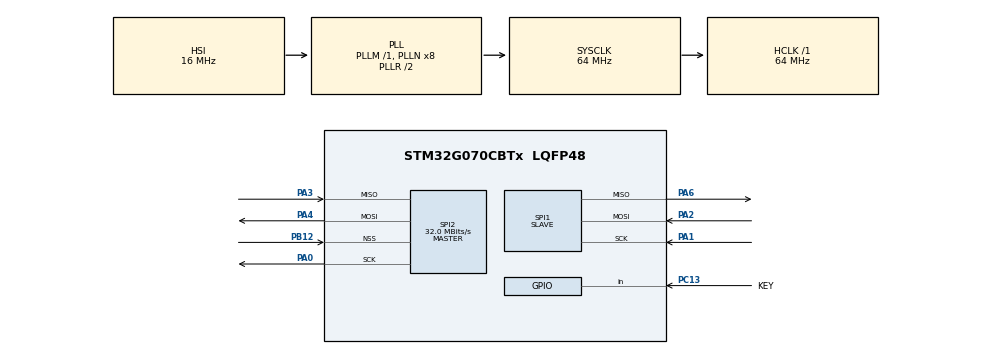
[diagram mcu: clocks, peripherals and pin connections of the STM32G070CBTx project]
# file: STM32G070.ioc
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Dma.Request0=SPI1_RX
Dma.Request1=SPI1_TX
Dma.SPI1_RX.0.Direction=DMA_PERIPH_TO_MEMORY
Dma.SPI1_RX.0.EventEnable=DISABLE
Dma.SPI1_RX.0.Instance=DMA1_Channel1
Dma.SPI1_RX.0.MemDataAlignment=DMA_MDATAALIGN_HALFWORD
Dma.SPI1_RX.0.MemInc=DMA_MINC_ENABLE
Dma.SPI1_RX.0.Mode=DMA_NORMAL
Dma.SPI1_RX.0.PeriphDataAlignment=DMA_PDATAALIGN_HALFWORD
Dma.SPI1_RX.0.PeriphInc=DMA_PINC_DISABLE
Dma.SPI1_RX.0.Polarity=HAL_DMAMUX_REQ_GEN_RISING
Dma.SPI1_RX.0.Priority=DMA_PRIORITY_MEDIUM
Dma.SPI1_RX.0.RequestNumber=1
Dma.SPI1_RX.0.SignalID=NONE
Dma.SPI1_RX.0.SyncEnable=DISABLE
Dma.SPI1_RX.0.SyncPolarity=HAL_DMAMUX_SYNC_NO_EVENT
Dma.SPI1_RX.0.SyncRequestNumber=1
Dma.SPI1_RX.0.SyncSignalID=NONE
Dma.SPI1_TX.1.Direction=DMA_MEMORY_TO_PERIPH
Dma.SPI1_TX.1.EventEnable=DISABLE
Dma.SPI1_TX.1.Instance=DMA1_Channel3
Dma.SPI1_TX.1.MemDataAlignment=DMA_MDATAALIGN_HALFWORD
Dma.SPI1_TX.1.MemInc=DMA_MINC_ENABLE
Dma.SPI1_TX.1.Mode=DMA_NORMAL
Dma.SPI1_TX.1.PeriphDataAlignment=DMA_PDATAALIGN_HALFWORD
Dma.SPI1_TX.1.PeriphInc=DMA_PINC_DISABLE
Dma.SPI1_TX.1.Polarity=HAL_DMAMUX_REQ_GEN_RISING
Dma.SPI1_TX.1.Priority=DMA_PRIORITY_MEDIUM
Dma.SPI1_TX.1.RequestNumber=1
Dma.SPI1_TX.1.SignalID=NONE
Dma.SPI1_TX.1.SyncEnable=DISABLE
Dma.SPI1_TX.1.SyncPolarity=HAL_DMAMUX_SYNC_NO_EVENT
Dma.SPI1_TX.1.SyncRequestNumber=1
Dma.SPI1_TX.1.SyncSignalID=NONE
Mcu.Family=STM32G0
Mcu.Name=STM32G070CBTx
Mcu.Package=LQFP48
NVIC.DMA1_Channel1_IRQn=true\:0\:0\:false\:false\:true\:false\:true\:true
NVIC.DMA1_Channel2_3_IRQn=true\:0\:0\:false\:false\:true\:false\:true\:true
NVIC.SPI1_IRQn=true\:0\:0\:false\:false\:true\:true\:true\:true
NVIC.SPI2_IRQn=true\:0\:0\:false\:false\:true\:true\:true\:true
PA0.GPIO_Speed=GPIO_SPEED_FREQ_VERY_HIGH
PA0.Mode=Full_Duplex_Master
PA0.Signal=SPI2_SCK
PA1.GPIO_Speed=GPIO_SPEED_FREQ_VERY_HIGH
PA1.Mode=Full_Duplex_Slave
PA1.Signal=SPI1_SCK
PA13.Mode=Serial_Wire
PA13.Signal=SYS_SWDIO
PA14-BOOT0.Mode=Serial_Wire
PA14-BOOT0.Signal=SYS_SWCLK
PA2.GPIO_Speed=GPIO_SPEED_FREQ_VERY_HIGH
PA2.Mode=Full_Duplex_Slave
PA2.Signal=SPI1_MOSI
PA3.GPIO_PuPd=GPIO_PULLUP
PA3.GPIO_Speed=GPIO_SPEED_FREQ_VERY_HIGH
PA3.Mode=Full_Duplex_Master
PA3.Signal=SPI2_MISO
PA4.GPIO_Speed=GPIO_SPEED_FREQ_VERY_HIGH
PA4.Mode=Full_Duplex_Master
PA4.Signal=SPI2_MOSI
PA6.GPIO_PuPd=GPIO_PULLUP
PA6.GPIO_Speed=GPIO_SPEED_FREQ_VERY_HIGH
PA6.Mode=Full_Duplex_Slave
PA6.Signal=SPI1_MISO
PB12.GPIO_Speed=GPIO_SPEED_FREQ_VERY_HIGH
PB12.Mode=NSS_Signal_Hard_Input
PB12.Signal=SPI2_NSS
PC13.GPIO_Label=KEY
PC13.GPIO_PuPd=GPIO_PULLUP
PC13.Signal=GPIO_Input
PF0-OSC_IN\ (PF0).Mode=HSE-External-Oscillator
PF0-OSC_IN\ (PF0).Signal=RCC_OSC_IN
PF1-OSC_OUT\ (PF1).Mode=HSE-External-Oscillator
PF1-OSC_OUT\ (PF1).Signal=RCC_OSC_OUT
ProjectManager.HeapSize=0x200
ProjectManager.StackSize=0x400
ProjectManager.TargetToolchain=EWARM V8.50
RCC.ADCFreq_Value=64000000
RCC.AHBFreq_Value=64000000
RCC.CortexFreq_Value=64000000
RCC.EXTERNAL_CLOCK_VALUE=48000
RCC.HCLKFreq_Value=64000000
RCC.HSE_VALUE=16000000
RCC.HSI_VALUE=16000000
RCC.LSE_VALUE=32768
RCC.SYSCLKFreq_VALUE=64000000
RCC.SYSCLKSource=RCC_SYSCLKSOURCE_PLLCLK
RCC.VCOOutputFreq_Value=128000000
SPI1.DataSize=SPI_DATASIZE_16BIT
SPI1.Direction=SPI_DIRECTION_2LINES
SPI1.Mode=SPI_MODE_SLAVE
SPI1.VirtualType=VM_SLAVE
SPI2.CalculateBaudRate=32.0 MBits/s
SPI2.DataSize=SPI_DATASIZE_16BIT
SPI2.Direction=SPI_DIRECTION_2LINES
SPI2.Mode=SPI_MODE_MASTER
SPI2.NSSPMode=SPI_NSS_PULSE_DISABLE
SPI2.VirtualNSS=VM_NSSHARD
SPI2.VirtualType=VM_MASTER
board=custom

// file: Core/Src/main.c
/* USER CODE BEGIN Header */
/**
  ******************************************************************************
  * @file           : main.c
  * @brief          : Main program body
  ******************************************************************************
  * @attention
  *
  * Copyright (c) 2022 STMicroelectronics.
  * All rights reserved.
  *
  * This software is licensed under terms that can be found in the LICENSE file
  * in the root directory of this software component.
  * If no LICENSE file comes with this software, it is provided AS-IS.
  *
  ******************************************************************************
  */
/* USER CODE END Header */
#include "main.h"

/* USER CODE BEGIN PD */
#define SPI1LEN         8	        /* длина буфера для spi1 */
#define SPI2LEN         SPI1LEN 	/* длина буфера для spi2 */
/* USER CODE END PD */

SPI_HandleTypeDef hspi2;

/* USER CODE BEGIN PV */
uint16_t        spi1buf[SPI1LEN];       // slave mode
uint16_t        spi2buf[SPI2LEN];       // master mode
uint16_t        spi2index = 0;		// индекс массива

__IO uint8_t ubTransmissionComplete = 0;
__IO uint8_t ubReceptionComplete = 0;
/* USER CODE END PV */

void SystemClock_Config(void);
static void MX_GPIO_Init(void);
static void MX_DMA_Init(void);
static void MX_SPI1_Init(void);
static void MX_SPI2_Init(void);

/* USER CODE BEGIN 0 */
/*void HAL_UART_RxCpltCallback(UART_HandleTypeDef *huart)
{
        //if(huart->Instance == USART1) // для быстродействия закоментируем проверку
	{
                // не интересный вариант с промежуточным буфером
                //spi2buf[spi2index++] = (uart1buf[0] << 8) | uart1buf[1]; // переписываем полученные данные в выходной массив
                //HAL_UART_Receive_IT(&huart1, (uint8_t *)&uart1buf, 2); // получаем 2 восьмибитных слова по прерыванию UART

                // интересный вариант приема данных сразу в целевой массив
                HAL_UART_Receive_IT(&huart1, (uint8_t *)&spi2buf[spi2index++], 2); // получаем 2 восьмибитных слова по прерыванию UART
                if(spi2index >= SPI2LEN) // не допускаем выхода за пределы массива
                        spi2index = 0;
                if(spi2index == SPI2LEN / 2) // при заполнении буффера на половину отдаем данные по DMA
                        HAL_SPI_Transmit_DMA(&hspi2, (uint8_t *)&spi2buf[0], SPI2LEN / 2); // slave transmit use NSS signal +
                if(spi2index == SPI2LEN) // при заполнении буффера полностью отдаем данные по DMA начиная с середины и до конца массива
                        HAL_SPI_Transmit_DMA(&hspi2, (uint8_t *)&spi2buf[SPI2LEN / 2], SPI2LEN / 2); // slave transmit use NSS signal +
        }
}*/

/**
  * @brief  Function called from DMA1 IRQ Handler when Rx transfer is completed
  * @param  None
  * @retval None
  */
void DMA1_ReceiveComplete_Callback(void)
{
  /* DMA Rx transfer completed */
  ubReceptionComplete = 1;
}

/**
  * @brief  Function called from DMA1 IRQ Handler when Tx transfer is completed
  * @param  None
  * @retval None
  */
void DMA1_TransmitComplete_Callback(void)
{
  /* DMA Tx transfer completed */
  ubTransmissionComplete = 1;
}

/**
  * @brief  Function called in case of error detected in SPI IT Handler
  * @param  None
  * @retval None
  */
void SPI1_TransferError_Callback(void)
{
  /* Set LED2 to Blinking mode to indicate error occurs */
  //LED_Blinking(LED_BLINK_ERROR);
}
/* USER CODE END 0 */

int main(void)
{

  /* MCU Configuration--------------------------------------------------------*/

  /* Reset of all peripherals, Initializes the Flash interface and the Systick. */
  HAL_Init();

  /* Configure the system clock */
  SystemClock_Config();

          for(uint16_t i = 0; i < SPI2LEN; i++) // генерируем набор данных для удобства отслеживания изменений в режиме отладки
          {
                spi2buf[i] = SPI2LEN - i - 1 + 1024;
                spi1buf[i] = i + 1024;
          }

  /* Initialize all configured peripherals */
  MX_GPIO_Init();
  MX_DMA_Init();
  MX_SPI1_Init();
  MX_SPI2_Init();
  /* USER CODE BEGIN 2 */

  /* Configure the DMA1_Channel3 functional parameters */
  LL_DMA_ConfigTransfer(DMA1, LL_DMA_CHANNEL_3, LL_DMA_DIRECTION_MEMORY_TO_PERIPH | LL_DMA_PRIORITY_HIGH | LL_DMA_MODE_NORMAL | LL_DMA_PERIPH_NOINCREMENT | LL_DMA_MEMORY_INCREMENT | LL_DMA_PDATAALIGN_HALFWORD | LL_DMA_MDATAALIGN_HALFWORD);
  LL_DMA_ConfigAddresses(DMA1, LL_DMA_CHANNEL_3, (uint32_t)&spi1buf, LL_SPI_DMA_GetRegAddr(SPI1), LL_DMA_GetDataTransferDirection(DMA1, LL_DMA_CHANNEL_3));
  LL_DMA_SetDataLength(DMA1, LL_DMA_CHANNEL_3, SPI1LEN);
  LL_DMA_SetPeriphRequest(DMA1, LL_DMA_CHANNEL_3, LL_DMAMUX_REQ_SPI1_TX); // ch3 -> tx

  /* Configure the DMA1_Channel1 functional parameters */
  LL_DMA_ConfigTransfer(DMA1, LL_DMA_CHANNEL_1, LL_DMA_DIRECTION_PERIPH_TO_MEMORY | LL_DMA_PRIORITY_HIGH | LL_DMA_MODE_NORMAL | LL_DMA_PERIPH_NOINCREMENT | LL_DMA_MEMORY_INCREMENT | LL_DMA_PDATAALIGN_HALFWORD | LL_DMA_MDATAALIGN_HALFWORD);
  LL_DMA_ConfigAddresses(DMA1, LL_DMA_CHANNEL_1, LL_SPI_DMA_GetRegAddr(SPI1), (uint32_t)&spi1buf, LL_DMA_GetDataTransferDirection(DMA1, LL_DMA_CHANNEL_1));
  LL_DMA_SetDataLength(DMA1, LL_DMA_CHANNEL_1, SPI1LEN);
  LL_DMA_SetPeriphRequest(DMA1, LL_DMA_CHANNEL_1, LL_DMAMUX_REQ_SPI1_RX); // ch1 -> rx

  /* Enable DMA interrupts complete/error */
  LL_DMA_EnableIT_TC(DMA1, LL_DMA_CHANNEL_3);
  LL_DMA_EnableIT_TE(DMA1, LL_DMA_CHANNEL_3);
  LL_DMA_EnableIT_TC(DMA1, LL_DMA_CHANNEL_1);
  LL_DMA_EnableIT_TE(DMA1, LL_DMA_CHANNEL_1);

  /* Initialize FFIFO Threshold */
  LL_SPI_SetRxFIFOThreshold(SPI1, LL_SPI_RX_FIFO_TH_HALF);

  /* Configure SPI1 DMA transfer interrupts */
  /* Enable DMA TX Interrupt */
  LL_SPI_EnableDMAReq_TX(SPI1);

  /* Configure SPI1 DMA transfer interrupts */
  /* Enable DMA RX Interrupt */
  LL_SPI_EnableDMAReq_RX(SPI1);

  /* Enable the SPI1 peripheral */

   /* Enable SPI1 */
  LL_SPI_Enable(SPI1);

  /* Enable DMA Channels */
  LL_DMA_EnableChannel(DMA1, LL_DMA_CHANNEL_3);
  LL_DMA_EnableChannel(DMA1, LL_DMA_CHANNEL_1);

          // передача данных по SPI мастером
        //HAL_SPI_Transmit_DMA(&hspi2, (uint8_t *)&spi2buf, SPI2LEN); // slave transmit use NSS signal +
        HAL_SPI_TransmitReceive(&hspi2, (uint8_t *)&spi2buf, (uint8_t *)&spi2buf, SPI2LEN, 5000); // slave transmit use NSS signal +

  /* Wait for the end of the transfer and check received data */
{
  /* 1 - Wait end of transmission */
  while(ubTransmissionComplete != 1);
  /* 2 - Wait end of reception */
  while(ubReceptionComplete != 1);

  // тут можно проверять данные
}
  /* USER CODE END 2 */

  /* Infinite loop */
  while (1)
  {

  }
}

void SystemClock_Config(void)
{
  RCC_OscInitTypeDef RCC_OscInitStruct = {0};
  RCC_ClkInitTypeDef RCC_ClkInitStruct = {0};

  /** Configure the main internal regulator output voltage
  */
  HAL_PWREx_ControlVoltageScaling(PWR_REGULATOR_VOLTAGE_SCALE1);

  /** Initializes the RCC Oscillators according to the specified parameters
  * in the RCC_OscInitTypeDef structure.
  */
  RCC_OscInitStruct.OscillatorType = RCC_OSCILLATORTYPE_HSI;
  RCC_OscInitStruct.HSIState = RCC_HSI_ON;
  RCC_OscInitStruct.HSIDiv = RCC_HSI_DIV1;
  RCC_OscInitStruct.HSICalibrationValue = RCC_HSICALIBRATION_DEFAULT;
  RCC_OscInitStruct.PLL.PLLState = RCC_PLL_ON;
  RCC_OscInitStruct.PLL.PLLSource = RCC_PLLSOURCE_HSI;
  RCC_OscInitStruct.PLL.PLLM = RCC_PLLM_DIV1;
  RCC_OscInitStruct.PLL.PLLN = 8;
  RCC_OscInitStruct.PLL.PLLP = RCC_PLLP_DIV2;
  RCC_OscInitStruct.PLL.PLLR = RCC_PLLR_DIV2;
  if (HAL_RCC_OscConfig(&RCC_OscInitStruct) != HAL_OK)
  {
    Error_Handler();
  }

  /** Initializes the CPU, AHB and APB buses clocks
  */
  RCC_ClkInitStruct.ClockType = RCC_CLOCKTYPE_HCLK|RCC_CLOCKTYPE_SYSCLK
                              |RCC_CLOCKTYPE_PCLK1;
  RCC_ClkInitStruct.SYSCLKSource = RCC_SYSCLKSOURCE_PLLCLK;
  RCC_ClkInitStruct.AHBCLKDivider = RCC_SYSCLK_DIV1;
  RCC_ClkInitStruct.APB1CLKDivider = RCC_HCLK_DIV1;

  if (HAL_RCC_ClockConfig(&RCC_ClkInitStruct, FLASH_LATENCY_2) != HAL_OK)
  {
    Error_Handler();
  }
}

static void MX_SPI1_Init(void)
{

  LL_SPI_InitTypeDef SPI_InitStruct = {0};

  LL_GPIO_InitTypeDef GPIO_InitStruct = {0};

  /* Peripheral clock enable */
  LL_APB2_GRP1_EnableClock(LL_APB2_GRP1_PERIPH_SPI1);

  LL_IOP_GRP1_EnableClock(LL_IOP_GRP1_PERIPH_GPIOA);
  /**SPI1 GPIO Configuration
  PA1   ------> SPI1_SCK
  PA2   ------> SPI1_MOSI
  PA6   ------> SPI1_MISO
  */
  GPIO_InitStruct.Pin = LL_GPIO_PIN_1;
  GPIO_InitStruct.Mode = LL_GPIO_MODE_ALTERNATE;
  GPIO_InitStruct.Speed = LL_GPIO_SPEED_FREQ_VERY_HIGH;
  GPIO_InitStruct.OutputType = LL_GPIO_OUTPUT_PUSHPULL;
  GPIO_InitStruct.Pull = LL_GPIO_PULL_NO;
  GPIO_InitStruct.Alternate = LL_GPIO_AF_0;
  LL_GPIO_Init(GPIOA, &GPIO_InitStruct);

  GPIO_InitStruct.Pin = LL_GPIO_PIN_2;
  GPIO_InitStruct.Mode = LL_GPIO_MODE_ALTERNATE;
  GPIO_InitStruct.Speed = LL_GPIO_SPEED_FREQ_VERY_HIGH;
  GPIO_InitStruct.OutputType = LL_GPIO_OUTPUT_PUSHPULL;
  GPIO_InitStruct.Pull = LL_GPIO_PULL_NO;
  GPIO_InitStruct.Alternate = LL_GPIO_AF_0;
  LL_GPIO_Init(GPIOA, &GPIO_InitStruct);

  GPIO_InitStruct.Pin = LL_GPIO_PIN_6;
  GPIO_InitStruct.Mode = LL_GPIO_MODE_ALTERNATE;
  GPIO_InitStruct.Speed = LL_GPIO_SPEED_FREQ_VERY_HIGH;
  GPIO_InitStruct.OutputType = LL_GPIO_OUTPUT_PUSHPULL;
  GPIO_InitStruct.Pull = LL_GPIO_PULL_UP;
  GPIO_InitStruct.Alternate = LL_GPIO_AF_0;
  LL_GPIO_Init(GPIOA, &GPIO_InitStruct);

  /* SPI1 DMA Init */

  /* SPI1_RX Init */
  LL_DMA_SetPeriphRequest(DMA1, LL_DMA_CHANNEL_1, LL_DMAMUX_REQ_SPI1_RX);

  LL_DMA_SetDataTransferDirection(DMA1, LL_DMA_CHANNEL_1, LL_DMA_DIRECTION_PERIPH_TO_MEMORY);

  LL_DMA_SetChannelPriorityLevel(DMA1, LL_DMA_CHANNEL_1, LL_DMA_PRIORITY_MEDIUM);

  LL_DMA_SetMode(DMA1, LL_DMA_CHANNEL_1, LL_DMA_MODE_NORMAL);

  LL_DMA_SetPeriphIncMode(DMA1, LL_DMA_CHANNEL_1, LL_DMA_PERIPH_NOINCREMENT);

  LL_DMA_SetMemoryIncMode(DMA1, LL_DMA_CHANNEL_1, LL_DMA_MEMORY_INCREMENT);

  LL_DMA_SetPeriphSize(DMA1, LL_DMA_CHANNEL_1, LL_DMA_PDATAALIGN_HALFWORD);

  LL_DMA_SetMemorySize(DMA1, LL_DMA_CHANNEL_1, LL_DMA_MDATAALIGN_HALFWORD);

  /* SPI1_TX Init */
  LL_DMA_SetPeriphRequest(DMA1, LL_DMA_CHANNEL_3, LL_DMAMUX_REQ_SPI1_TX);

  LL_DMA_SetDataTransferDirection(DMA1, LL_DMA_CHANNEL_3, LL_DMA_DIRECTION_MEMORY_TO_PERIPH);

  LL_DMA_SetChannelPriorityLevel(DMA1, LL_DMA_CHANNEL_3, LL_DMA_PRIORITY_MEDIUM);

  LL_DMA_SetMode(DMA1, LL_DMA_CHANNEL_3, LL_DMA_MODE_NORMAL);

  LL_DMA_SetPeriphIncMode(DMA1, LL_DMA_CHANNEL_3, LL_DMA_PERIPH_NOINCREMENT);

  LL_DMA_SetMemoryIncMode(DMA1, LL_DMA_CHANNEL_3, LL_DMA_MEMORY_INCREMENT);

  LL_DMA_SetPeriphSize(DMA1, LL_DMA_CHANNEL_3, LL_DMA_PDATAALIGN_HALFWORD);

  LL_DMA_SetMemorySize(DMA1, LL_DMA_CHANNEL_3, LL_DMA_MDATAALIGN_HALFWORD);

  /* SPI1 interrupt Init */
  NVIC_SetPriority(SPI1_IRQn, 0);
  NVIC_EnableIRQ(SPI1_IRQn);

  /* SPI1 parameter configuration*/
  SPI_InitStruct.TransferDirection = LL_SPI_FULL_DUPLEX;
  SPI_InitStruct.Mode = LL_SPI_MODE_SLAVE;
  SPI_InitStruct.DataWidth = LL_SPI_DATAWIDTH_16BIT;
  SPI_InitStruct.ClockPolarity = LL_SPI_POLARITY_LOW;
  SPI_InitStruct.ClockPhase = LL_SPI_PHASE_1EDGE;
  SPI_InitStruct.NSS = LL_SPI_NSS_SOFT;
  SPI_InitStruct.BitOrder = LL_SPI_MSB_FIRST;
  SPI_InitStruct.CRCCalculation = LL_SPI_CRCCALCULATION_DISABLE;
  SPI_InitStruct.CRCPoly = 7;
  LL_SPI_Init(SPI1, &SPI_InitStruct);
  LL_SPI_SetStandard(SPI1, LL_SPI_PROTOCOL_MOTOROLA);
  LL_SPI_DisableNSSPulseMgt(SPI1);

}

static void MX_SPI2_Init(void)
{

  /* SPI2 parameter configuration*/
  hspi2.Instance = SPI2;
  hspi2.Init.Mode = SPI_MODE_MASTER;
  hspi2.Init.Direction = SPI_DIRECTION_2LINES;
  hspi2.Init.DataSize = SPI_DATASIZE_16BIT;
  hspi2.Init.CLKPolarity = SPI_POLARITY_LOW;
  hspi2.Init.CLKPhase = SPI_PHASE_1EDGE;
  hspi2.Init.NSS = SPI_NSS_HARD_INPUT;
  hspi2.Init.BaudRatePrescaler = SPI_BAUDRATEPRESCALER_2;
  hspi2.Init.FirstBit = SPI_FIRSTBIT_MSB;
  hspi2.Init.TIMode = SPI_TIMODE_DISABLE;
  hspi2.Init.CRCCalculation = SPI_CRCCALCULATION_DISABLE;
  hspi2.Init.CRCPolynomial = 7;
  hspi2.Init.CRCLength = SPI_CRC_LENGTH_DATASIZE;
  hspi2.Init.NSSPMode = SPI_NSS_PULSE_DISABLE;
  if (HAL_SPI_Init(&hspi2) != HAL_OK)
  {
    Error_Handler();
  }

}

static void MX_DMA_Init(void)
{

  /* Init with LL driver */
  /* DMA controller clock enable */
  LL_AHB1_GRP1_EnableClock(LL_AHB1_GRP1_PERIPH_DMA1);

  /* DMA interrupt init */
  /* DMA1_Channel1_IRQn interrupt configuration */
  NVIC_SetPriority(DMA1_Channel1_IRQn, 0);
  NVIC_EnableIRQ(DMA1_Channel1_IRQn);
  /* DMA1_Channel2_3_IRQn interrupt configuration */
  NVIC_SetPriority(DMA1_Channel2_3_IRQn, 0);
  NVIC_EnableIRQ(DMA1_Channel2_3_IRQn);

}

static void MX_GPIO_Init(void)
{
  GPIO_InitTypeDef GPIO_InitStruct = {0};

  /* GPIO Ports Clock Enable */
  __HAL_RCC_GPIOC_CLK_ENABLE();
  __HAL_RCC_GPIOF_CLK_ENABLE();
  __HAL_RCC_GPIOA_CLK_ENABLE();
  __HAL_RCC_GPIOB_CLK_ENABLE();

  /*Configure GPIO pin : KEY_Pin */
  GPIO_InitStruct.Pin = KEY_Pin;
  GPIO_InitStruct.Mode = GPIO_MODE_INPUT;
  GPIO_InitStruct.Pull = GPIO_PULLUP;
  HAL_GPIO_Init(KEY_GPIO_Port, &GPIO_InitStruct);

}

void Error_Handler(void)
{
  __disable_irq();
  while (1)
  {
  }
}
